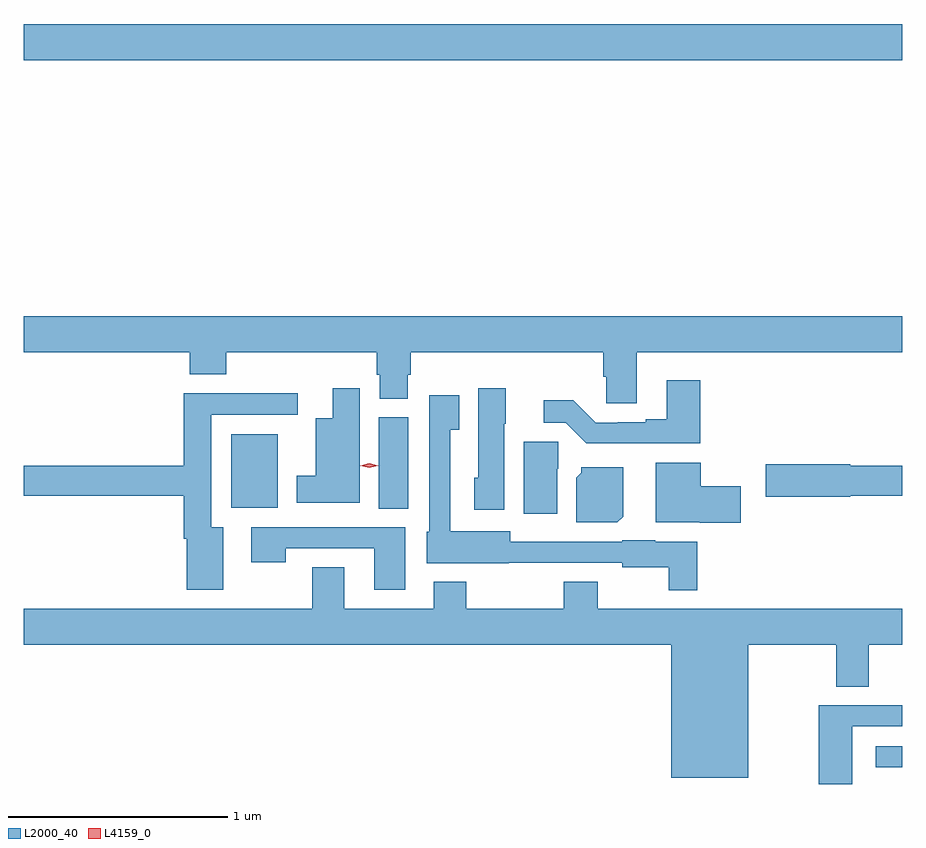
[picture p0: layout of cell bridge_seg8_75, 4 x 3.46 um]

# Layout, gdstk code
import gdstk
lib = gdstk.Library(unit=1e-6, precision=1e-09)
def R(c, l, rs):  # rectangles x0, y0, x1, y1
    for r in rs: c.add(gdstk.rectangle(r[:2], r[2:], *l))
def P(c, l, *ps):  # polygons
    for p in ps: c.add(gdstk.Polygon(p, *l))
L2000_40 = (2000, 40)
L4159_0 = (4159, 0)

bridge_seg8_75 = lib.new_cell('bridge_seg8_75')
R(bridge_seg8_75, L2000_40, [(903.765,1093.299,903.885,1093.395), (901.502,1094.476,901.636,1094.892), (900.83,1094.48,901.042,1094.815), (899.885,1096.52,903.885,1096.684)])
P(bridge_seg8_75, L2000_40, [(902.677,1095.188),(903.885,1095.188),(903.885,1095.352),(899.885,1095.352),(899.885,1095.188),(900.641,1095.188),(900.641,1095.089),(900.806,1095.089),(900.806,1095.188),(901.493,1095.188),(901.493,1095.087),(901.505,1095.087),(901.505,1094.977),(901.633,1094.977),(901.633,1095.087),(901.646,1095.087),(901.646,1095.188),(902.525,1095.188),(902.525,1095.078),(902.538,1095.078),(902.538,1094.956),(902.677,1094.956)],
  [(902.966,1095.061),(902.813,1095.061),(902.813,1094.884),(902.717,1094.884),(902.717,1094.871),(902.59,1094.871),(902.59,1094.868),(902.49,1094.868),(902.388,1094.971),(902.253,1094.971),(902.253,1094.868),(902.352,1094.868),(902.446,1094.774),(902.966,1094.774)],
  [(902.074,1094.862),(902.08,1094.862),(902.08,1095.025),(901.955,1095.025),(901.955,1094.616),(901.937,1094.616),(901.937,1094.472),(902.074,1094.472)],
  [(901.414,1095.025),(901.292,1095.025),(901.292,1094.887),(901.214,1094.887),(901.214,1094.626),(901.127,1094.626),(901.127,1094.504),(901.414,1094.504)],
  [(900.793,1094.392),(900.739,1094.392),(900.739,1094.904),(901.132,1094.904),(901.132,1095.002),(900.614,1095.002),(900.614,1094.672),(899.885,1094.672),(899.885,1094.536),(900.614,1094.536),(900.614,1094.339),(900.626,1094.339),(900.626,1094.106),(900.793,1094.106)],
  [(902.951,1094.326),(902.76,1094.326),(902.76,1094.332),(902.61,1094.332),(902.61,1094.325),(902.101,1094.325),(902.101,1094.374),(901.827,1094.374),(901.827,1094.836),(901.867,1094.836),(901.867,1094.992),(901.731,1094.992),(901.731,1094.37),(901.721,1094.37),(901.721,1094.228),(902.093,1094.228),(902.093,1094.229),(902.61,1094.229),(902.61,1094.21),(902.823,1094.21),(902.823,1094.105),(902.951,1094.105)],
  [(902.314,1094.658),(902.318,1094.658),(902.318,1094.781),(902.162,1094.781),(902.162,1094.454),(902.314,1094.454)],
  [(903.151,1094.578),(902.968,1094.578),(902.968,1094.686),(902.762,1094.686),(902.762,1094.414),(902.964,1094.414),(902.964,1094.413),(903.151,1094.413)],
  [(903.648,1094.536),(903.885,1094.536),(903.885,1094.672),(903.648,1094.672),(903.648,1094.678),(903.264,1094.678),(903.264,1094.531),(903.648,1094.531)],
  [(902.614,1094.44),(902.614,1094.665),(902.424,1094.665),(902.424,1094.64),(902.402,1094.618),(902.402,1094.414),(902.588,1094.414)],
  [(901.621,1094.391),(900.921,1094.391),(900.921,1094.232),(901.077,1094.232),(901.077,1094.295),(901.481,1094.295),(901.481,1094.106),(901.621,1094.106)],
  [(903.184,1093.856),(903.586,1093.856),(903.586,1093.666),(903.733,1093.666),(903.733,1093.856),(903.885,1093.856),(903.885,1094.02),(902.499,1094.02),(902.499,1094.144),(902.344,1094.144),(902.344,1094.02),(901.899,1094.02),(901.899,1094.143),(901.751,1094.143),(901.751,1094.02),(901.345,1094.02),(901.345,1094.21),(901.198,1094.21),(901.198,1094.02),(899.885,1094.02),(899.885,1093.856),(902.834,1093.856),(902.834,1093.25),(903.184,1093.25)],
  [(903.658,1093.485),(903.885,1093.485),(903.885,1093.581),(903.505,1093.581),(903.505,1093.222),(903.658,1093.222)])
P(bridge_seg8_75, L4159_0, [(901.459,1094.662),(901.418,1094.672),(901.418,1094.672),(901.418,1094.672),(901.459,1094.682),(901.499,1094.672),(901.499,1094.672),(901.499,1094.672)])

lib.write_gds('bridge_seg8_75.gds')
